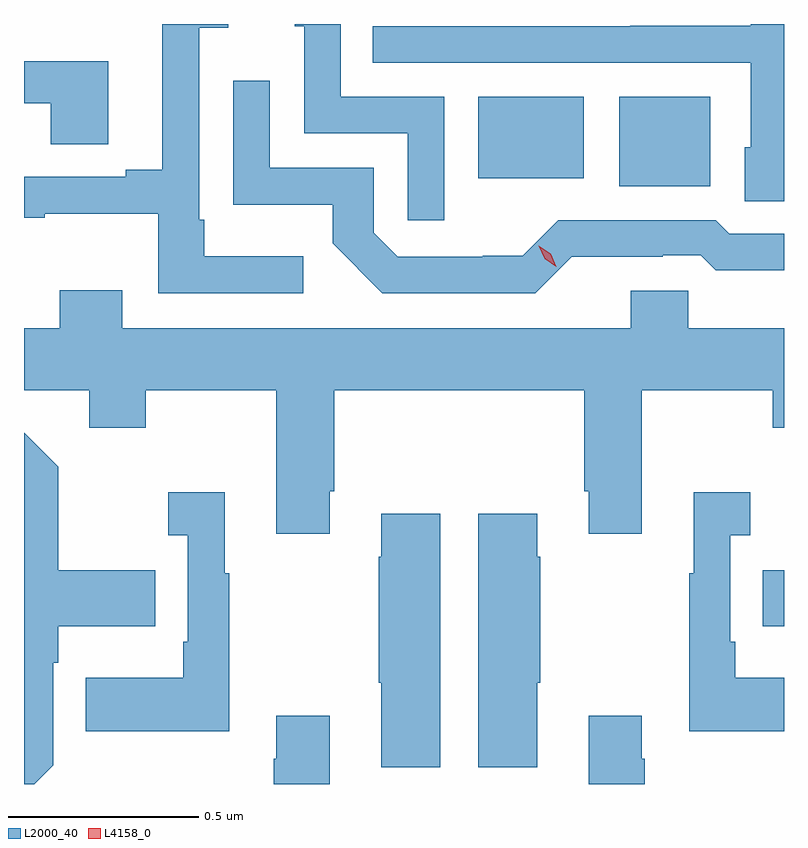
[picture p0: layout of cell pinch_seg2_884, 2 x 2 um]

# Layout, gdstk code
import gdstk
lib = gdstk.Library(unit=1e-6, precision=1e-09)
def R(c, l, rs):  # rectangles x0, y0, x1, y1
    for r in rs: c.add(gdstk.rectangle(r[:2], r[2:], *l))
def P(c, l, *ps):  # polygons
    for p in ps: c.add(gdstk.Polygon(p, *l))
L2000_40 = (2000, 40)
L4158_0 = (4158, 0)

pinch_seg2_884 = lib.new_cell('pinch_seg2_884')
R(pinch_seg2_884, L2000_40, [(626.761,625.703,626.817,625.851), (626.384,626.861,626.623,627.097), (626.012,626.882,626.29,627.097)])
P(pinch_seg2_884, L2000_40, [(625.552,626.677),(625.291,626.677),(625.291,626.773),(625.278,626.773),(625.278,627.278),(625.354,627.278),(625.354,627.288),(625.181,627.288),(625.181,626.905),(625.085,626.905),(625.085,626.886),(624.817,626.886),(624.817,626.778),(624.871,626.778),(624.871,626.789),(625.17,626.789),(625.17,626.58),(625.552,626.58)],
  [(625.923,627.096),(625.65,627.096),(625.65,627.288),(625.529,627.288),(625.529,627.282),(625.554,627.282),(625.554,627),(625.827,627),(625.827,626.772),(625.923,626.772)],
  [(626.817,627.288),(626.73,627.288),(626.73,627.283),(626.413,627.283),(626.413,627.282),(625.735,627.282),(625.735,627.186),(626.73,627.186),(626.73,626.964),(626.714,626.964),(626.714,626.821),(626.817,626.821)],
  [(625.039,627.19),(624.817,627.19),(624.817,627.08),(624.887,627.08),(624.887,626.971),(625.039,626.971)],
  [(626.258,626.675),(626.498,626.675),(626.498,626.679),(626.598,626.679),(626.638,626.64),(626.817,626.64),(626.817,626.736),(626.673,626.736),(626.637,626.772),(626.223,626.772),(626.129,626.678),(626.024,626.678),(626.024,626.676),(625.8,626.676),(625.737,626.739),(625.737,626.91),(625.464,626.91),(625.464,627.139),(625.368,627.139),(625.368,626.813),(625.63,626.813),(625.63,626.711),(625.76,626.58),(626.163,626.58)],
  [(625.621,626.059),(625.634,626.059),(625.634,626.324),(626.291,626.324),(626.291,626.059),(626.303,626.059),(626.303,625.947),(626.443,625.947),(626.443,626.324),(626.788,626.324),(626.788,626.225),(626.817,626.225),(626.817,626.488),(626.565,626.488),(626.565,626.586),(626.414,626.586),(626.414,626.488),(625.075,626.488),(625.075,626.587),(624.911,626.587),(624.911,626.488),(624.817,626.488),(624.817,626.324),(624.989,626.324),(624.989,626.225),(625.137,626.225),(625.137,626.324),(625.481,626.324),(625.481,625.947),(625.621,625.947)],
  [(624.894,625.338),(624.894,625.607),(624.907,625.607),(624.907,625.703),(625.163,625.703),(625.163,625.851),(624.907,625.851),(624.907,626.123),(624.817,626.213),(624.817,625.288),(624.844,625.288)],
  [(626.817,625.567),(626.689,625.567),(626.689,625.663),(626.676,625.663),(626.676,625.943),(626.728,625.943),(626.728,626.056),(626.579,626.056),(626.579,625.843),(626.568,625.843),(626.568,625.427),(626.817,625.427)],
  [(625.357,625.843),(625.345,625.843),(625.345,626.056),(625.197,626.056),(625.197,625.943),(625.248,625.943),(625.248,625.663),(625.236,625.663),(625.236,625.567),(624.979,625.567),(624.979,625.427),(625.357,625.427)],
  [(625.912,625.999),(625.757,625.999),(625.757,625.886),(625.75,625.886),(625.75,625.555),(625.757,625.555),(625.757,625.332),(625.912,625.332)],
  [(626.167,625.555),(626.175,625.555),(626.175,625.886),(626.167,625.886),(626.167,625.999),(626.012,625.999),(626.012,625.332),(626.167,625.332)],
  [(625.621,625.468),(625.481,625.468),(625.481,625.355),(625.474,625.355),(625.474,625.288),(625.621,625.288)],
  [(626.451,625.355),(626.443,625.355),(626.443,625.468),(626.303,625.468),(626.303,625.288),(626.451,625.288)])
P(pinch_seg2_884, L4158_0, [(626.218,626.649),(626.187,626.67),(626.172,626.704),(626.172,626.704),(626.172,626.704),(626.203,626.683),(626.218,626.649),(626.218,626.649)])

lib.write_gds('pinch_seg2_884.gds')
